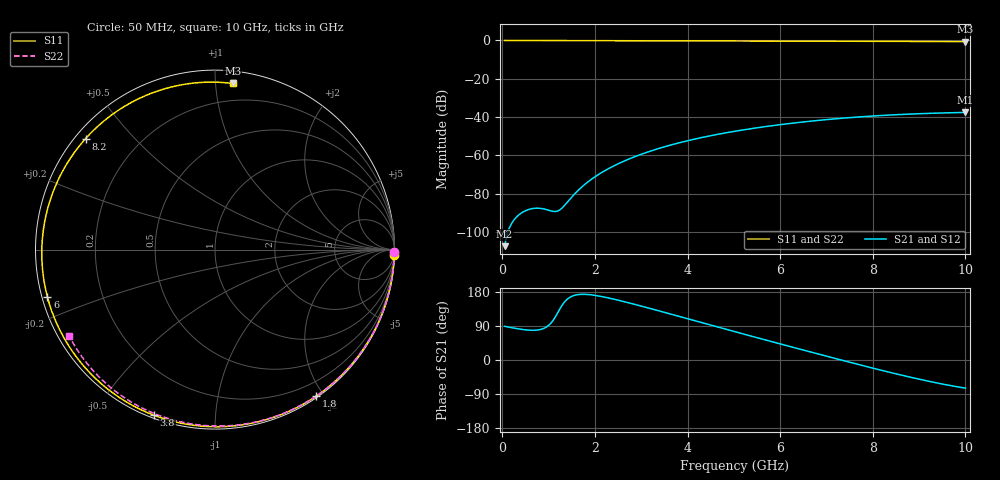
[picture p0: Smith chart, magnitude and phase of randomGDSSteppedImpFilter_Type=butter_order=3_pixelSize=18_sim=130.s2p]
! freq	dB(S11)	phase(S11)	dB(S12)	phase(S12)
!  dB(S21)	phase(S21)	dB(S22)	phase(S22)
!S-par simulation data
#  GHz  S  DB  R 50
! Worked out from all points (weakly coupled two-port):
!   200 points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, 50 MHz to 10 GHz, reference 50 ohm
!   highest |S21| = -37.58 dB at 10 GHz (marker M1); lowest = -107.4 dB at 50 MHz (marker M2)
!   lowest |S11| = -0.6 dB at 10 GHz (marker M3), VSWR 27.92, Z = 4 + j55.5 ohm
!   |S11| at or under -10 dB: nowhere
!   |S22| runs from -0.5 to 0.0 dB; largest |S21 - S12| = 0
!   S11 on the Smith chart (normalised r, x): 50 MHz: 0, -72; 1.8 GHz: 0.02, -1.90; 3.8 GHz: 0.01, -0.70; 6 GHz: 0.02, -0.14; 8.2 GHz: 0.03, +0.37; 10 GHz: 0.08, +1.11
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0.05  -0.00 -1.6  -107.44 89.0  -107.44 89.0  -0.00 -0.9
0.75  -0.03 -23.6  -87.60 79.0  -87.60 79.0  -0.02 -12.9
1.55  -0.06 -48.0  -80.48 170.3  -80.48 170.3  -0.03 -26.5
1.75  -0.07 -54.0  -75.83 173.4  -75.83 173.4  -0.04 -29.8
1.8  -0.07 -55.4  -74.82 173.2  -74.82 173.2  -0.04 -30.7
2.1  -0.08 -64.2  -69.66 168.5  -69.66 168.5  -0.05 -35.6
2.45  -0.09 -74.1  -65.01 159.4  -65.01 159.4  -0.05 -41.4
2.9  -0.11 -86.5  -60.34 145.5  -60.34 145.5  -0.06 -48.7
3.4  -0.13 -99.8  -56.26 129.1  -56.26 129.1  -0.08 -56.6
3.8  -0.14 -110.2  -53.57 115.7  -53.57 115.7  -0.09 -62.8
4.4  -0.17 -125.3  -50.23 95.5  -50.23 95.5  -0.10 -72.0
5.05  -0.20 -141.2  -47.31 73.8  -47.31 73.8  -0.13 -81.7
5.55  -0.23 -153.3  -45.44 57.2  -45.44 57.2  -0.15 -88.9
6  -0.26 -164.2  -43.98 42.5  -43.98 42.5  -0.17 -95.3
6.7  -0.31 178.7  -42.05 19.8  -42.05 19.8  -0.20 -105.1
7.45  -0.38 159.6  -40.40 -4.3  -40.40 -4.3  -0.25 -115.3
8.2  -0.45 139.3  -39.17 -27.6  -39.17 -27.6  -0.31 -125.3
8.35  -0.46 135.1  -38.97 -32.1  -38.97 -32.1  -0.33 -127.3
8.8  -0.50 122.0  -38.45 -45.1  -38.45 -45.1  -0.37 -133.2
9.25  -0.55 108.3  -38.05 -57.2  -38.05 -57.2  -0.41 -139.2
9.65  -0.59 95.5  -37.77 -66.9  -37.77 -66.9  -0.46 -144.6
10  -0.62 83.9  -37.58 -74.3  -37.58 -74.3  -0.50 -149.3
